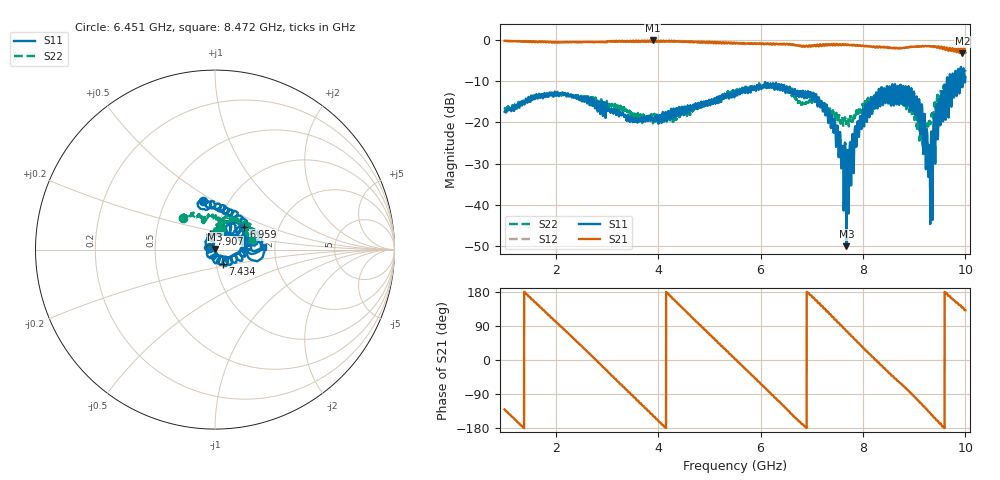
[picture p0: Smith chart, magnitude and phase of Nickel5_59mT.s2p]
#  HZ  S  RI  R  50.0
! Rohde & Schwarz ZVL13 2Ports - Version 3.31 - 1303.6509k13 SN: 101088
! Date: 2023-03-09 14:11:31
! Data & Calibration Information:
! Trc4:S11(TOSM) Trc2:S21(TOSM) Trc3:S12(TOSM) Trc5:S22(TOSM)
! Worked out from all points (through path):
!   4000 points, 1 GHz to 10 GHz, reference 50 ohm
!   highest |S21| = -0.15 dB at 3.89 GHz (marker M1); lowest = -3.3 dB at 9.941 GHz (marker M2)
!   group delay of S21, straight-line fit = 365 ps
!   lowest |S11| = -50.0 dB at 7.675 GHz (marker M3), VSWR 1.01, Z = 50.1 + j0.311 ohm
!   |S11| at or under -10 dB: start of sweep to 9.637 GHz; 9.653138 GHz to 9.688018 GHz (34.88 MHz wide, 0.361 % of centre); 9.710414 GHz to 9.740835 GHz (30.42 MHz wide, 0.313 % of centre)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
!   |S22| runs from -26.2 to -7.2 dB; largest |S21 - S12| = 0.074
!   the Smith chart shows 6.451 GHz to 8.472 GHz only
!   S11 on the Smith chart (normalised r, x): 6.451 GHz: 0.76, +0.45; 6.959 GHz: 1.33, +0.35; 7.434 GHz: 1.08, -0.17; 7.907 GHz: 0.93, +0.17; 8.472 GHz: 1.72, +0.05
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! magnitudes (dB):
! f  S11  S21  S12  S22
! 1 GHz  -17.4  -0.2  -0.2  -16.8
! 1.695 GHz  -14.1  -0.6  -0.4  -13.7
! 2.501 GHz  -14.5  -0.5  -0.6  -13.7
! 3.89 GHz  -19.1  -0.1  -0.3  -19.2
! 4 GHz  -19.4  -0.2  -0.2  -19.3
! 5.501 GHz  -13.2  -0.8  -0.9  -12.5
! 6.451 GHz  -11.1  -1.0  -0.9  -12.1
! 6.959 GHz  -13.8  -1.4  -1.4  -14.7
! 7 GHz  -14.3  -1.3  -1.4  -15.2
! 7.434 GHz  -21.0  -1.0  -1.2  -17.5
! 7.675 GHz  -50.0  -1.2  -1.0  -20.1
! 7.907 GHz  -20.7  -1.5  -1.4  -17.9
! 8.128 GHz  -18.5  -1.6  -1.6  -15.5
! 8.472 GHz  -11.5  -1.9  -1.7  -13.5
! 8.501 GHz  -14.3  -1.9  -2.0  -13.2
! 8.969 GHz  -17.2  -1.7  -1.6  -17.8
! 9.194 GHz  -18.9  -1.6  -1.5  -20.6
! 9.318 GHz  -31.9  -1.5  -1.7  -20.4
! 9.413 GHz  -28.5  -1.5  -1.7  -16.2
! 9.563 GHz  -19.8  -2.1  -2.1  -11.6
! 9.941 GHz  -11.0  -3.3  -2.6  -8.0
! 10 GHz  -9.0  -3.1  -2.6  -7.2
